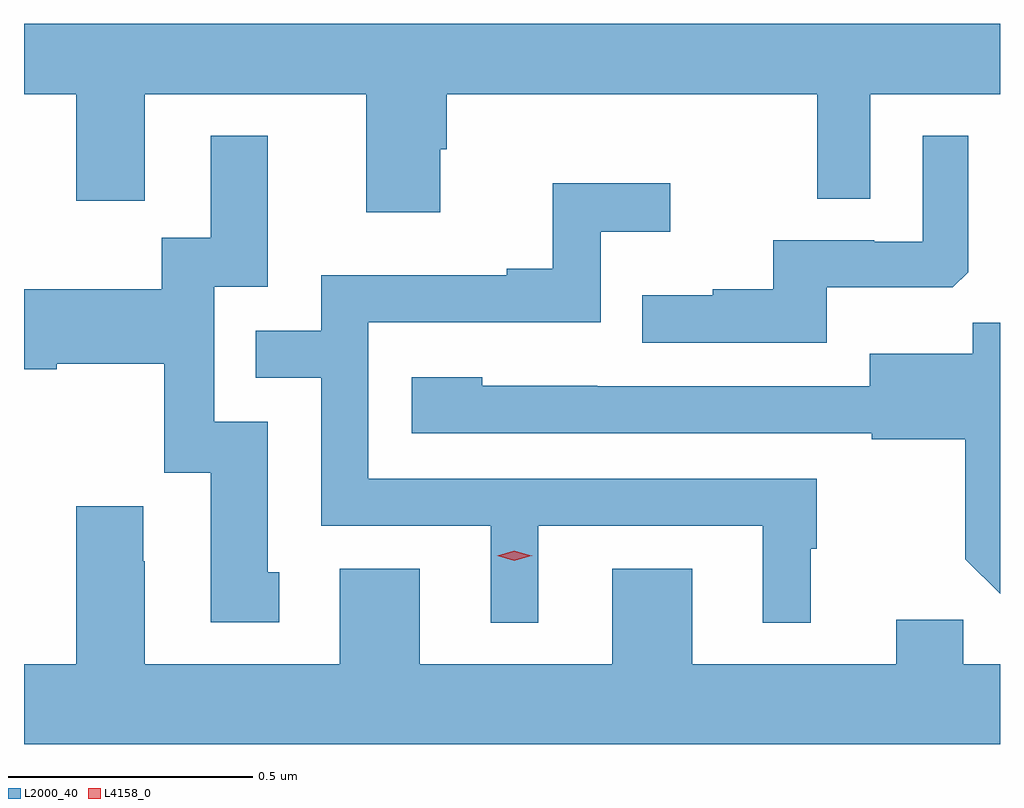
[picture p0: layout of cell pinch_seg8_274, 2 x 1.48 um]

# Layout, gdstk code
import gdstk
lib = gdstk.Library(unit=1e-6, precision=1e-09)
def P(c, l, *ps):  # polygons
    for p in ps: c.add(gdstk.Polygon(p, *l))
L2000_40 = (2000, 40)
L4158_0 = (4158, 0)

pinch_seg8_274 = lib.new_cell('pinch_seg8_274')
P(pinch_seg8_274, L2000_40, [(527.016,1160.456),(527.123,1160.456),(527.123,1160.238),(527.263,1160.238),(527.263,1160.456),(527.717,1160.456),(527.717,1160.214),(527.869,1160.214),(527.869,1160.343),(527.882,1160.343),(527.882,1160.456),(528.642,1160.456),(528.642,1160.242),(528.75,1160.242),(528.75,1160.456),(529.016,1160.456),(529.016,1160.6),(527.016,1160.6)],
  [(528.661,1160.06),(528.919,1160.06),(528.951,1160.091),(528.951,1160.371),(528.858,1160.371),(528.858,1160.154),(528.758,1160.154),(528.758,1160.157),(528.551,1160.157),(528.551,1160.056),(528.427,1160.056),(528.427,1160.044),(528.283,1160.044),(528.283,1159.947),(528.661,1159.947)],
  [(527.539,1159.476),(527.515,1159.476),(527.515,1159.785),(527.406,1159.785),(527.406,1160.061),(527.515,1160.061),(527.515,1160.371),(527.399,1160.371),(527.399,1160.162),(527.298,1160.162),(527.298,1160.056),(527.016,1160.056),(527.016,1159.892),(527.083,1159.892),(527.083,1159.904),(527.303,1159.904),(527.303,1159.68),(527.399,1159.68),(527.399,1159.374),(527.539,1159.374)],
  [(528.07,1159.572),(528.53,1159.572),(528.53,1159.373),(528.628,1159.373),(528.628,1159.524),(528.64,1159.524),(528.64,1159.668),(527.721,1159.668),(527.721,1159.989),(528.198,1159.989),(528.198,1160.174),(528.34,1160.174),(528.34,1160.273),(528.1,1160.273),(528.1,1160.098),(528.005,1160.098),(528.005,1160.085),(527.625,1160.085),(527.625,1159.971),(527.491,1159.971),(527.491,1159.875),(527.625,1159.875),(527.625,1159.572),(527.972,1159.572),(527.972,1159.373),(528.07,1159.373)],
  [(529.016,1159.988),(528.96,1159.988),(528.96,1159.924),(528.749,1159.924),(528.749,1159.857),(528.191,1159.857),(528.191,1159.858),(527.955,1159.858),(527.955,1159.876),(527.811,1159.876),(527.811,1159.761),(528.753,1159.761),(528.753,1159.749),(528.945,1159.749),(528.945,1159.503),(529.016,1159.432)],
  [(529.016,1159.288),(528.941,1159.288),(528.941,1159.379),(528.803,1159.379),(528.803,1159.288),(528.385,1159.288),(528.385,1159.483),(528.221,1159.483),(528.221,1159.288),(527.827,1159.288),(527.827,1159.483),(527.663,1159.483),(527.663,1159.288),(527.263,1159.288),(527.263,1159.499),(527.26,1159.499),(527.26,1159.612),(527.123,1159.612),(527.123,1159.288),(527.016,1159.288),(527.016,1159.124),(529.016,1159.124)])
P(pinch_seg8_274, L4158_0, [(528.021,1159.5),(527.986,1159.51),(527.985,1159.51),(527.986,1159.51),(528.021,1159.52),(528.056,1159.51),(528.057,1159.51),(528.056,1159.51)])

lib.write_gds('pinch_seg8_274.gds')
